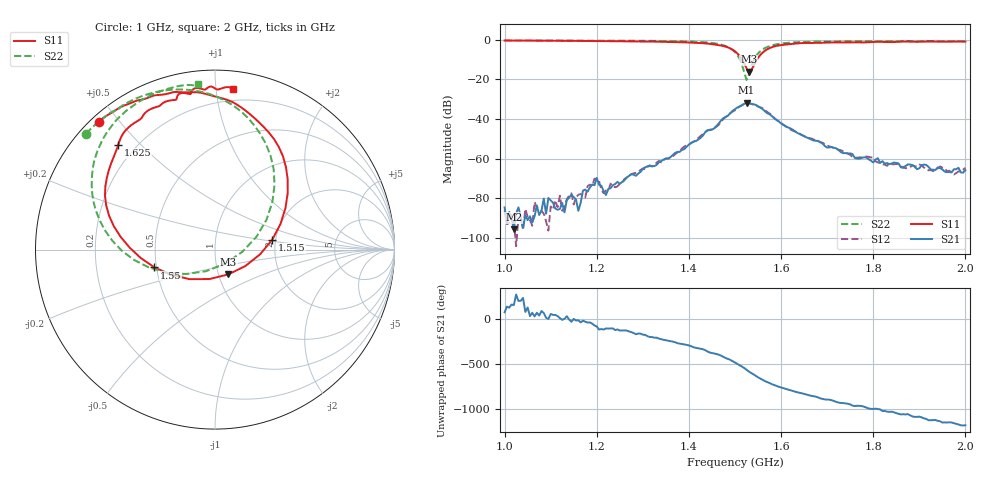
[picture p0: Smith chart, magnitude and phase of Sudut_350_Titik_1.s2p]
# Hz S RI R 50
! CMT, C1220, 16058040, 17.2.0/1
! Date: 14/08/2018 12:59:30
! Data: Format (Calibration Info)
! Freq  S11: Re/Im (F2)  S21: Re/Im (F2)  S12: Re/Im (F2)  S22: Re/Im (F2)
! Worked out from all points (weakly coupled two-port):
!   201 points, 1 GHz to 2 GHz, reference 50 ohm
!   highest |S21| = -31.72 dB at 1.525 GHz (marker M1); lowest = -95.6 dB at 1.02 GHz (marker M2)
!   lowest |S11| = -16.1 dB at 1.53 GHz (marker M3), VSWR 1.37, Z = 55.6 - j15.8 ohm
!   |S11| at or under -10 dB: 1.515 GHz to 1.548 GHz (32.09 MHz wide, 2.1 % of centre)
!   |S22| runs from -20.2 to -0.3 dB; largest |S21 - S12| = 0.0011
!   S11 on the Smith chart (normalised r, x): 1 GHz: 0.02, +0.44; 1.515 GHz: 1.92, +0.23; 1.55 GHz: 0.49, -0.11; 1.625 GHz: 0.14, +0.43; 2 GHz: 0.11, +1.11
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1e9  -0.6484 0.7118  1.73e-05 5.67e-05  4.42e-05 2.33e-05  -0.719 0.6459
1.02e9  -0.6275 0.728  -1.48e-05 7.7e-06  1.8e-05 2.02e-05  -0.7047 0.6603
1.165e9  -0.4704 0.8159  5.87e-05 -4.87e-05  0.000123 -3.91e-05  -0.5823 0.7627
1.17e9  -0.464 0.8188  0.000145 -5.72e-05  9.06e-05 -7.36e-05  -0.5768 0.7658
1.2e9  -0.4207 0.8332  2.5e-05 -0.000327  -3.91e-05 -0.000298  -0.5429 0.7777
1.22e9  -0.3931 0.8393  -3.64e-05 -0.000116  -5.38e-05 -0.000148  -0.5308 0.7911
1.245e9  -0.3523 0.8544  -0.000125 -0.00023  -9.85e-05 -0.000175  -0.5013 0.8113
1.335e9  -0.1938 0.8767  -0.000623 0.00053  -0.000634 0.000607  -0.3598 0.8699
1.45e9  0.1902 0.7583  0.00504 -0.00195  0.00506 -0.00234  0.0465 0.8342
1.5e9  0.4053 0.3158  -0.0105 -0.0143  -0.0099 -0.0134  0.3317 0.3609
1.515e9  0.3189 0.0548  -0.0221 -0.0034  -0.0222 -0.00405  0.231 0.0713
1.525e9  0.1696 -0.0913  -0.0232 0.0115  -0.0236 0.0115  0.0592 -0.0773
1.53e9  0.0735 -0.1385  -0.0174 0.0182  -0.0176 0.0184  -0.0502 -0.1203
1.55e9  -0.3374 -0.0993  0.0074 0.0196  0.00667 0.0198  -0.4506 -0.0578
1.58e9  -0.6061 0.2453  0.0118 -0.00154  0.0122 -0.00203  -0.6768 0.2656
1.625e9  -0.5391 0.5833  0.00066 -0.00541  0.000807 -0.00508  -0.6494 0.5623
1.67e9  -0.4254 0.7201  -0.00223 -0.00184  -0.00242 -0.00194  -0.5662 0.7014
1.76e9  -0.2556 0.8301  -0.000348 0.000985  -0.000478 0.000943  -0.4202 0.8257
1.835e9  -0.1393 0.866  0.000517 0.000518  0.000553 0.000543  -0.315 0.8783
1.945e9  0.00738 0.8937  0.000295 -0.000501  0.000328 -0.00055  -0.1632 0.9169
1.975e9  0.0596 0.9046  8.19e-05 -0.000536  3.31e-05 -0.0004  -0.1245 0.9157
2e9  0.0975 0.8974  -0.00013 -0.000499  -0.000138 -0.000579  -0.0973 0.9225
